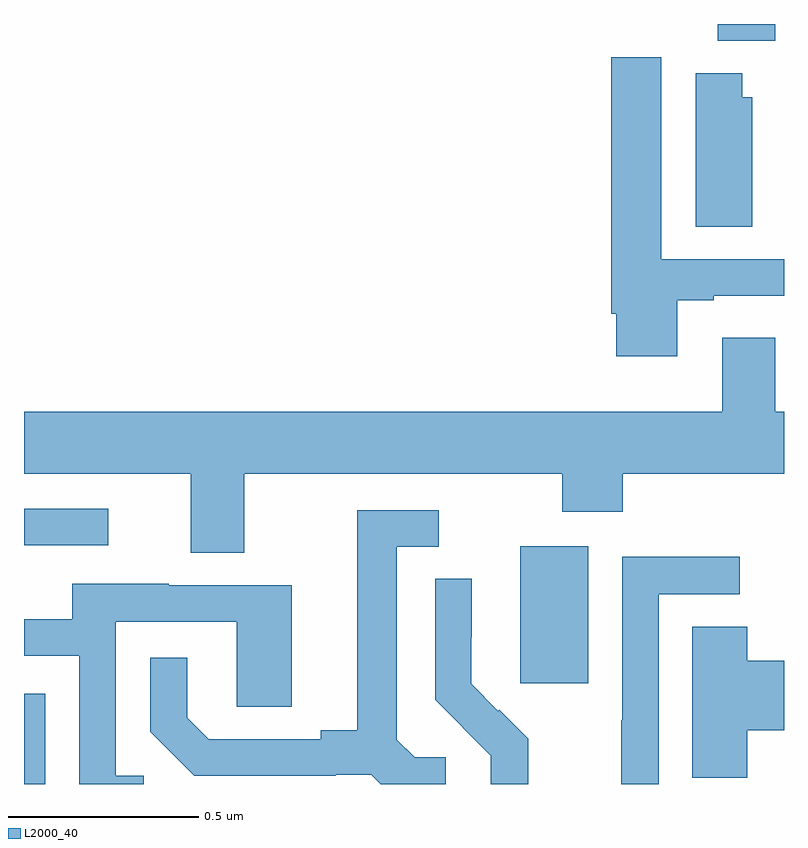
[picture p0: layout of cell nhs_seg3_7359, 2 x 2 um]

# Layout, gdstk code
import gdstk
lib = gdstk.Library(unit=1e-6, precision=1e-09)
def R(c, l, rs):  # rectangles x0, y0, x1, y1
    for r in rs: c.add(gdstk.rectangle(r[:2], r[2:], *l))
def P(c, l, *ps):  # polygons
    for p in ps: c.add(gdstk.Polygon(p, *l))
L2000_40 = (2000, 40)

nhs_seg3_7359 = lib.new_cell('nhs_seg3_7359')
R(nhs_seg3_7359, L2000_40, [(202,733.4,202.056,733.638), (203.306,733.665,203.485,734.026), (202,734.028,202.222,734.124), (203.825,735.356,203.977,735.4)])
P(nhs_seg3_7359, L2000_40, [(203.719,734.673),(203.815,734.673),(203.815,734.685),(204,734.685),(204,734.781),(203.677,734.781),(203.677,735.313),(203.546,735.313),(203.546,734.638),(203.558,734.638),(203.558,734.526),(203.719,734.526)],
  [(203.917,735.207),(203.89,735.207),(203.89,735.271),(203.768,735.271),(203.768,734.866),(203.917,734.866)],
  [(202.579,734.216),(203.416,734.216),(203.416,734.117),(203.576,734.117),(203.576,734.216),(204,734.216),(204,734.38),(203.977,734.38),(203.977,734.575),(203.837,734.575),(203.837,734.38),(202,734.38),(202,734.216),(202.439,734.216),(202.439,734.008),(202.579,734.008)],
  [(203.11,733.47),(203.028,733.47),(202.981,733.517),(202.981,734.025),(203.092,734.025),(203.092,734.121),(202.877,734.121),(202.877,733.541),(202.781,733.541),(202.781,733.518),(202.486,733.518),(202.429,733.575),(202.429,733.732),(202.332,733.732),(202.332,733.538),(202.448,733.422),(202.82,733.422),(202.82,733.425),(202.914,733.425),(202.939,733.4),(203.11,733.4)],
  [(203.67,733.899),(203.884,733.899),(203.884,733.998),(203.574,733.998),(203.574,733.568),(203.572,733.568),(203.572,733.4),(203.67,733.4)],
  [(203.327,733.519),(203.25,733.596),(203.247,733.593),(203.177,733.664),(203.177,733.786),(203.178,733.786),(203.178,733.94),(203.082,733.94),(203.082,733.622),(203.155,733.549),(203.154,733.548),(203.228,733.474),(203.228,733.4),(203.327,733.4)],
  [(202.315,733.422),(202.242,733.422),(202.242,733.827),(202.56,733.827),(202.56,733.603),(202.705,733.603),(202.705,733.923),(202.381,733.923),(202.381,733.927),(202.127,733.927),(202.127,733.833),(202,733.833),(202,733.737),(202.146,733.737),(202.146,733.4),(202.315,733.4)],
  [(203.903,733.541),(204,733.541),(204,733.724),(203.903,733.724),(203.903,733.814),(203.759,733.814),(203.759,733.417),(203.903,733.417)])

lib.write_gds('nhs_seg3_7359.gds')
